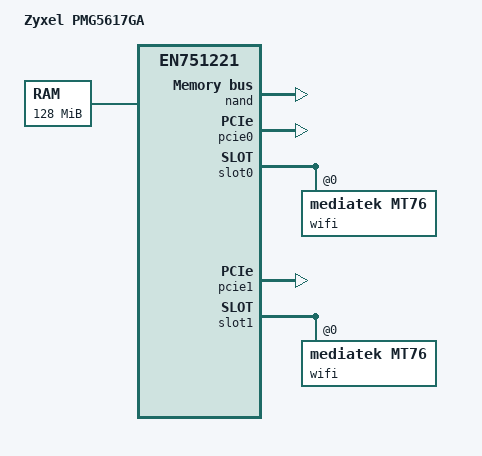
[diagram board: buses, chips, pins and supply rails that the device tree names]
// SPDX-License-Identifier: (GPL-2.0-only OR BSD-2-Clause)
/dts-v1/;

#include "en751221.dtsi"

/ {
	model = "Zyxel PMG5617GA";
	compatible = "zyxel,pmg5617ga", "econet,en751221";

	memory@0 {
		device_type = "memory";
		reg = <0x00000000 0x8000000>;
	};

	chosen {
		stdout-path = "/serial@1fbf0000:115200";
		linux,usable-memory-range = <0x00020000 0x07fe0000>;
	};
};

&nand {
	status = "okay";
	econet,bmt;

	partitions {
		compatible = "fixed-partitions";
		#address-cells = <1>;
		#size-cells = <1>;

		partition@0 {
			label = "bootloader";
			reg = <0x0 0x40000>;
			read-only;
		};

		partition@40000 {
			label = "romfile";
			reg = <0x40000 0x40000>;
			read-only;
		};

		partition@80000 {
			label = "tclinux";
			reg = <0x80000 0x3800000>;
			read-only;
			econet,enable-remap;
		};

		/* Nested inside of tclinux */
		partition@480000 {
			label = "rootfs";
			reg = <0x480000 0x3400000>;
			linux,rootfs;
			read-only;
		};

		partition@3880000 {
			label = "tclinux_alt";
			reg = <0x3880000 0x0036c0000>;
		};

		partition@6f40000 {
			label = "wwan";
			reg = <0x006f40000 0x000100000>;
		};

		partition@7040000 {
			label = "factory_data";
			reg = <0x007040000 0x000400000>;
		};

		partition@7440000 {
			label = "rom-d";
			reg = <0x007440000 0x000100000>;
		};

		partition@7540000 {
			label = "reservearea";
			reg = <0x007540000 0x000080000>;
			nvmem-layout {
					compatible = "fixed-layout";
					#address-cells = <1>;
					#size-cells = <1>;

					eeprom_reserve_60000: eeprom@60000 {
							/* MT7592 */
							/* This overlaps the MT7612E EEPROM, but MT7603E demands
							 * 1024 bytes of EEPROM even though only 512 bytes are used.
							 */
							reg = <0x60000 0x400>;
					};

					eeprom_reserve_60200: eeprom@60200 {
							/* MT7612E */
							reg = <0x60200 0x200>;
					};
			};
		};
	};
};

&pcie0 {
	status = "okay";
};
&slot0 {
	wifi@0,0 {
		/* MT7592 */
		compatible = "mediatek,mt76";
		reg = <0x0000 0 0 0 0>;
		nvmem-cells = <&eeprom_reserve_60000>;
		nvmem-cell-names = "eeprom";
	};
};
&pcie1 {
	status = "okay";
};
&slot1 {
	wifi@0,0 {
		/* MT7612E */
		compatible = "mediatek,mt76";
		reg = <0x0000 0 0 0 0>;
		nvmem-cells = <&eeprom_reserve_60200>;
		nvmem-cell-names = "eeprom";
	};
};
